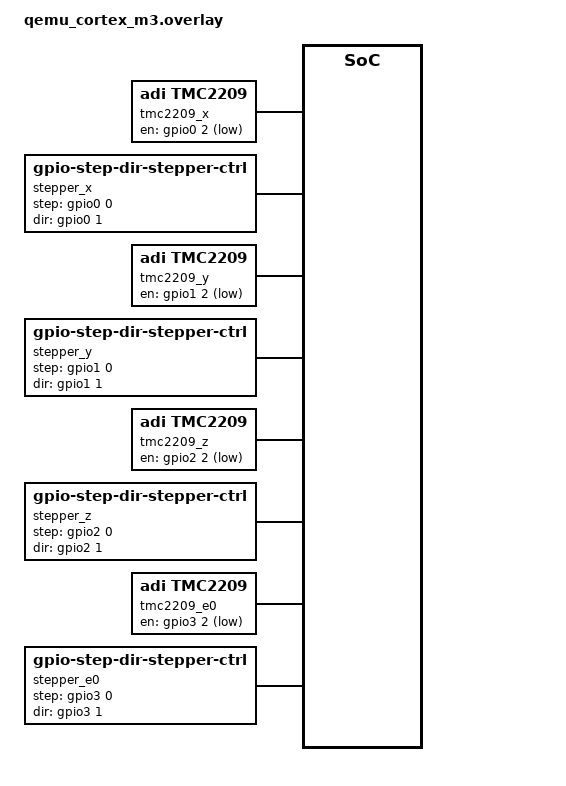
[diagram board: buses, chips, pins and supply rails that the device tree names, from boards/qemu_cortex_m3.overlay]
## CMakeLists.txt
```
#-------------------------------------------------------------------------------
# Zephyr Example Application
#
# Copyright (c) 2021 Nordic Semiconductor ASA
# SPDX-License-Identifier: Apache-2.0

cmake_minimum_required(VERSION 3.13.1)
find_package(Zephyr REQUIRED HINTS $ENV{ZEPHYR_BASE})

project(app LANGUAGES C CXX)

target_sources(app PRIVATE src/main.cpp)

# The code below locates the git index file for this repository and adds it as a dependency for
# the application VERSION file so that if the repo has a new commit added, even if no files in
# the build have changed, the application version file will be regenerated with the new git commit
find_package(Git QUIET)
if(GIT_FOUND)
  execute_process(
    COMMAND ${GIT_EXECUTABLE} rev-parse --absolute-git-dir
    WORKING_DIRECTORY .
    OUTPUT_VARIABLE application_git_dir
    OUTPUT_STRIP_TRAILING_WHITESPACE
    ERROR_STRIP_TRAILING_WHITESPACE
    ERROR_VARIABLE stderr
    RESULT_VARIABLE return_code
  )
  # If there is an error e.g. it is not a git repo, we just silently ignore it and continue
  # without a dependency, this will be the case with freestanding applications.
  if(NOT return_code)
    if(NOT "${stderr}" STREQUAL "")
      message(WARNING "Application build version git rev-parse warned: ${stderr}")
    endif()

    set_property(TARGET app_version_h PROPERTY APP_VERSION_DEPENDS ${application_git_dir}/index)
  endif()
endif()
```

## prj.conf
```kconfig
# Copyright (c) 2021 Nordic Semiconductor ASA
# SPDX-License-Identifier: Apache-2.0
#
# This file contains selected Kconfig options for the application.

CONFIG_CONSOLE=y
CONFIG_PRINTK=y
CONFIG_GPIO=y
CONFIG_COUNTER=y
CONFIG_STEPPER=y
CONFIG_COUNTER_TIMER_STM32=y
CONFIG_UNITS=y
CONFIG_STD_CPP17=y
CONFIG_CPP=y

CONFIG_NO_OPTIMIZATIONS=y
```

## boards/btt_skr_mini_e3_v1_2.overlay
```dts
/* Point the sample's stepper0 label at the board's X-axis stepper */
stepper0: &stepper_x {
};
```

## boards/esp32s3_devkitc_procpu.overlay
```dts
&usb_serial {
	status = "okay";
};
```

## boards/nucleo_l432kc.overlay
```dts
/{
    my_led1: my-led {
        compatible = "my-led";
        gpios = <&gpiob 3 GPIO_ACTIVE_HIGH>;
        blink-period-ms = <50>;
        status = "okay";
    };

    tmc2209: tmc2209 {
        compatible = "adi,tmc2209";
        en-gpios = <&gpiob 0 GPIO_ACTIVE_HIGH>;
        m0-gpios = <&gpiob 1 GPIO_ACTIVE_HIGH>;
        m1-gpios = <&gpioa 7 GPIO_ACTIVE_HIGH>;
        status = "okay";
    };

    stepper0: motion-controller {
        compatible = "zephyr,gpio-step-dir-stepper-ctrl";
        step-gpios = <&gpioa 10 GPIO_ACTIVE_HIGH>;
        dir-gpios = <&gpioa 11 GPIO_ACTIVE_HIGH>;
        counter = <&counter1>;

        // stepper-driver = <&tmc2209>;
        status = "okay";
    };
};

/* 1. Configure the STM32 Hardware Timer */
&timers2 {
    status = "okay";
    st,prescaler = <1>;

    /* Child node providing the counter API */
    counter1: counter {
        compatible = "st,stm32-counter";
        status = "okay";
    };
};

&pwm2 {
    status = "disabled";
};
```

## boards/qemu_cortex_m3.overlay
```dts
/*
 * QEMU (qemu_cortex_m3 / TI LM3S6965) stand-in for the BTT SKR Mini E3 V1.2
 * stepper wiring, using the board's real onboard GPIO controllers in place
 * of the STM32 GPIO ports (QEMU has no STM32F103 machine model).
 *
 * X/Y/Z/E0 each get a dedicated GPIO port so the layout mirrors
 * btt_skr_mini_e3_v1_2.dts: pin 0 = STEP, pin 1 = DIR, pin 2 = EN.
 */

#include <zephyr/dt-bindings/gpio/gpio.h>

/ {
	aliases {
		stepper-x-driver = &tmc2209_x;
		stepper-x-ctrl = &stepper_x;
		stepper-y-driver = &tmc2209_y;
		stepper-y-ctrl = &stepper_y;
		stepper-z-driver = &tmc2209_z;
		stepper-z-ctrl = &stepper_z;
		stepper-e0-driver = &tmc2209_e0;
		stepper-e0-ctrl = &stepper_e0;
	};

	tmc2209_x: tmc2209-x {
		compatible = "adi,tmc2209";
		en-gpios = <&gpio0 2 GPIO_ACTIVE_LOW>;
	};

	stepper_x: stepper0: stepper-x {
		compatible = "zephyr,gpio-step-dir-stepper-ctrl";
		step-gpios = <&gpio0 0 GPIO_ACTIVE_HIGH>;
		dir-gpios = <&gpio0 1 GPIO_ACTIVE_HIGH>;
		stepper-driver = <&tmc2209_x>;
	};

	tmc2209_y: tmc2209-y {
		compatible = "adi,tmc2209";
		en-gpios = <&gpio1 2 GPIO_ACTIVE_LOW>;
	};

	stepper_y: stepper-y {
		compatible = "zephyr,gpio-step-dir-stepper-ctrl";
		step-gpios = <&gpio1 0 GPIO_ACTIVE_HIGH>;
		dir-gpios = <&gpio1 1 GPIO_ACTIVE_HIGH>;
		stepper-driver = <&tmc2209_y>;
	};

	tmc2209_z: tmc2209-z {
		compatible = "adi,tmc2209";
		en-gpios = <&gpio2 2 GPIO_ACTIVE_LOW>;
	};

	stepper_z: stepper-z {
		compatible = "zephyr,gpio-step-dir-stepper-ctrl";
		step-gpios = <&gpio2 0 GPIO_ACTIVE_HIGH>;
		dir-gpios = <&gpio2 1 GPIO_ACTIVE_HIGH>;
		stepper-driver = <&tmc2209_z>;
	};

	tmc2209_e0: tmc2209-e0 {
		compatible = "adi,tmc2209";
		en-gpios = <&gpio3 2 GPIO_ACTIVE_LOW>;
	};

	stepper_e0: stepper-e0 {
		compatible = "zephyr,gpio-step-dir-stepper-ctrl";
		step-gpios = <&gpio3 0 GPIO_ACTIVE_HIGH>;
		dir-gpios = <&gpio3 1 GPIO_ACTIVE_HIGH>;
		stepper-driver = <&tmc2209_e0>;
	};
};
```

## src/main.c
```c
#include <zephyr/sys/printk.h>
#include <zephyr/kernel.h>
#include <zephyr/devicetree.h>
#include <zephyr/device.h>
#include <zephyr/drivers/gpio.h>
#include <app/drivers/myled.h>
#include <zephyr/drivers/stepper/stepper.h>
#include <zephyr/drivers/stepper/stepper_ctrl.h>

static const struct device *stepper_dev = DEVICE_DT_GET(DT_NODELABEL(stepper0));


int main()
{

	bool ret = device_is_ready(stepper_dev);

	if(!ret){
        k_panic();
    }



    // /* Enable driver and set motion bounds */
    stepper_enable(stepper_dev);
    stepper_ctrl_set_microstep_interval(stepper_dev, 500e3);

    // /* 1. Move to absolute position +6400 (blocking) */
    stepper_ctrl_move_to(stepper_dev, 200*8*69);

    k_msleep(1000);

	
    // stepper_ctrl_move_to(stepper_dev, 0);

    // /* 2. Move to absolute position 0 (returns to origin) */
    // stepper_move_to(stepper_dev, 0, NULL);

	while (1)
	{
        printk("gay\r\n");
        k_msleep(1000);

		// run_blink();
	}
}
```

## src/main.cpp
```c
#include <zephyr/sys/printk.h>
#include <zephyr/kernel.h>
#include <zephyr/devicetree.h>
#include <zephyr/device.h>
#include <zephyr/drivers/gpio.h>
#include <app/drivers/myled.h>
#include <zephyr/drivers/stepper/stepper.h>
#include <zephyr/drivers/stepper/stepper_ctrl.h>
#include <app/lib/units.hpp>

using namespace units::literals;

static const struct device *stepper_dev = DEVICE_DT_GET(DT_NODELABEL(stepper0));


int main()
{

	bool ret = device_is_ready(stepper_dev);

	if(!ret){
        k_panic();
    }


    auto v = 48.0;
    auto t = 1_a;
    auto a = v - 1.0_v;

    // /* Enable driver and set motion bounds */
    stepper_enable(stepper_dev);
    stepper_ctrl_set_microstep_interval(stepper_dev, 500e3);

    // /* 1. Move to absolute position +6400 (blocking) */
    stepper_ctrl_move_to(stepper_dev, 200*8*69);

    k_msleep(1000);

	
    // stepper_ctrl_move_to(stepper_dev, 0);

    // /* 2. Move to absolute position 0 (returns to origin) */
    // stepper_move_to(stepper_dev, 0, NULL);

	while (1)
	{
        printk("gay\r\n");
        printk("v = %f\n", v.value());
        printk("a = %f\n", a.value());
        k_msleep(1000);


        
		// run_blink();
	}
}
```
